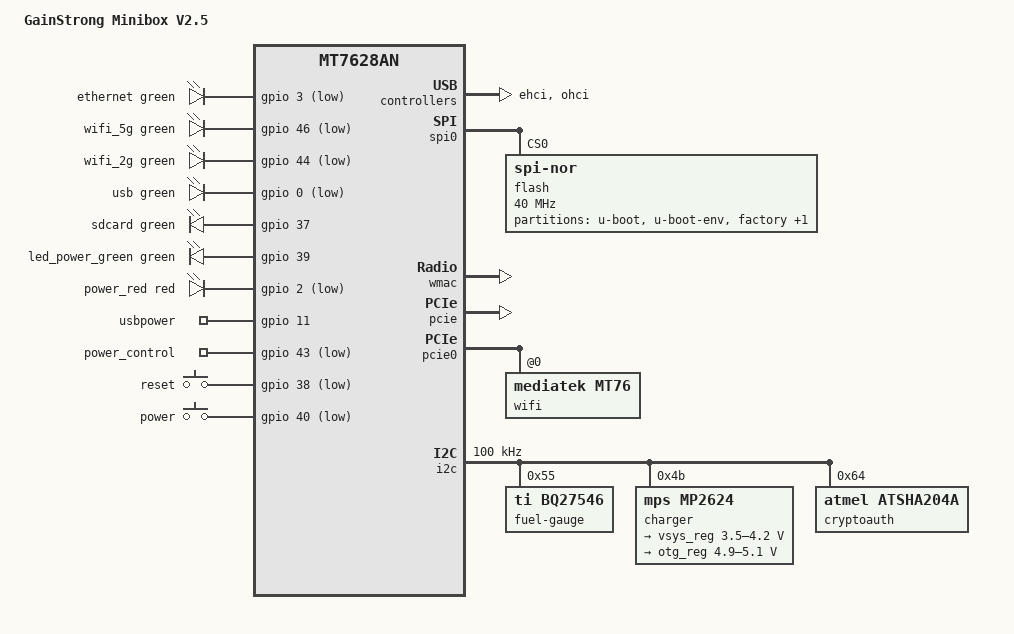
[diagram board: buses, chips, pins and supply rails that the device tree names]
// SPDX-License-Identifier: GPL-2.0-or-later OR MIT

#include "mt7628an.dtsi"

#include <dt-bindings/gpio/gpio.h>
#include <dt-bindings/input/input.h>
#include <dt-bindings/leds/common.h>

/ {
	compatible = "gainstrong,minibox-v2.5", "mediatek,mt7628an-soc";
	model = "GainStrong Minibox V2.5";

	chosen {
		bootargs = "console=ttyS0,57600";
	};

	aliases {
		led-boot = &led_power_green;
		led-failsafe = &led_power_green;
		led-running = &led_power_green;
		led-upgrade = &led_power_green;
		label-mac-device = &wmac;
	};

	leds {
		compatible = "gpio-leds";

		ethernet {
			function = LED_FUNCTION_LAN;
			color = <LED_COLOR_ID_GREEN>;
			gpios = <&gpio 3 GPIO_ACTIVE_LOW>;
		};

		wifi_5g {
			function = LED_FUNCTION_WLAN_5GHZ;
			color = <LED_COLOR_ID_GREEN>;
			gpios = <&gpio 46 GPIO_ACTIVE_LOW>;
		};

		wifi_2g {
			function = LED_FUNCTION_WLAN_2GHZ;
			color = <LED_COLOR_ID_GREEN>;
			gpios = <&gpio 44 GPIO_ACTIVE_LOW>;
		};

		usb {
			function = LED_FUNCTION_USB;
			color = <LED_COLOR_ID_GREEN>;
			gpios = <&gpio 0 GPIO_ACTIVE_LOW>;
			trigger-sources = <&ohci_port1>, <&ehci_port1>;
			linux,default-trigger = "usbport";
		};

		sdcard {
			function = LED_FUNCTION_SD;
			color = <LED_COLOR_ID_GREEN>;
			gpios = <&gpio 37 GPIO_ACTIVE_HIGH>;
			default-state = "on";
		};

		led_power_green: power_green {
			function = LED_FUNCTION_POWER;
			color = <LED_COLOR_ID_GREEN>;
			gpios = <&gpio 39 GPIO_ACTIVE_HIGH>;
			default-state = "on";
		};

		power_red {
			function = LED_FUNCTION_POWER;
			color = <LED_COLOR_ID_RED>;
			gpios = <&gpio 2 GPIO_ACTIVE_LOW>;
		};
	};

	gpio_export {
		compatible = "gpio-export";
		#size-cells = <0>;

		usbpower {
			gpio-export,name = "usbpower";
			gpio-export,output = <1>;
			gpios = <&gpio 11 GPIO_ACTIVE_HIGH>;
		};

		power_control {
			gpio-export,name = "power_control";
			gpio-export,output = <1>;
			gpios = <&gpio 43 GPIO_ACTIVE_LOW>;
		};
	};

	keys {
		compatible = "gpio-keys";

		reset {
			label = "reset";
			gpios = <&gpio 38 GPIO_ACTIVE_LOW>;
			linux,code = <KEY_RESTART>;
		};

		power {
			label = "power";
			gpios = <&gpio 40 GPIO_ACTIVE_LOW>;
			linux,code = <KEY_POWER>;
		};
	};

};

&state_default {
	gpio {
		groups = "gpio", "i2s", "uart1", "refclk", "p0led_an",
			 "p1led_an", "p2led_an", "p3led_an", "p4led_an",
			 "wled_an";
		function = "gpio";
	};
};

&ehci {
	status = "okay";
};

&ohci {
	status = "okay";
};

&spi0 {
	status = "okay";

	flash@0 {
		compatible = "jedec,spi-nor";
		reg = <0>;
		spi-max-frequency = <40000000>;

		partitions {
			compatible = "fixed-partitions";
			#address-cells = <1>;
			#size-cells = <1>;

			partition@0 {
				label = "u-boot";
				reg = <0x0 0x30000>;
				read-only;
			};

			partition@30000 {
				label = "u-boot-env";
				reg = <0x30000 0x10000>;
			};

			partition@40000 {
				label = "factory";
				reg = <0x40000 0x10000>;
				read-only;

				nvmem-layout {
					compatible = "fixed-layout";
					#address-cells = <1>;
					#size-cells = <1>;

					eeprom_factory_0: eeprom@0 {
						reg = <0x0 0x400>;
					};

					macaddr_factory_4: macaddr@4 {
						compatible = "mac-base";
						reg = <0x4 0x6>;
						#nvmem-cell-cells = <1>;
					};

					eeprom_factory_8000: eeprom@8000 {
						reg = <0x8000 0x4da8>;
					};
				};
			};

			partition@50000 {
				compatible = "denx,uimage";
				label = "firmware";
				reg = <0x50000 0x0>;
			};
		};
	};
};

&ethernet {
	nvmem-cells = <&macaddr_factory_4 1>;
	nvmem-cell-names = "mac-address";
};

&wmac {
	status = "okay";

	nvmem-cells = <&eeprom_factory_0>, <&macaddr_factory_4 0>;
	nvmem-cell-names = "eeprom", "mac-address";
};

&pcie {
	status = "okay";
};

&pcie0 {
	wifi@0,0 {
		compatible = "mediatek,mt76";
		reg = <0x0000 0 0 0 0>;
		nvmem-cells = <&eeprom_factory_8000>, <&macaddr_factory_4 3>;
		nvmem-cell-names = "eeprom", "mac-address";
		ieee80211-freq-limit = <5000000 6000000>;
	};
};

&i2c {
	status = "okay";
	clock-frequency = <100000>;

	fuel-gauge@55 {
		compatible = "ti,bq27546";
		reg = <0x55>;
	};

	charger@4b {
		compatible = "mps,mp2624";
		reg = <0x4b>;
		gainstrong,charger-reset-reg = /bits/ 8 <0x01 0x86>;
		gainstrong,charger-init-regs = /bits/ 8 <
			0x01 0x0a
			0x05 0xa0
			0x00 0x60
			0x08 0x85
		>;

		regulators {
			vsys_reg: vsys-regulator {
				regulator-compatible = "bq2429x-vsys";
				regulator-name = "vsys";
				regulator-min-microvolt = <3500000>;
				regulator-max-microvolt = <4200000>;
				regulator-always-on;
				regulator-boot-on;
			};

			otg_reg: otg-regulator {
				regulator-compatible = "bq2429x-otg";
				regulator-name = "otg";
				regulator-min-microvolt = <4900000>;
				regulator-max-microvolt = <5100000>;
			};
		};
	};

	cryptoauth@64 {
		compatible = "atmel,atsha204a";
		reg = <0x64>;
	};
};
